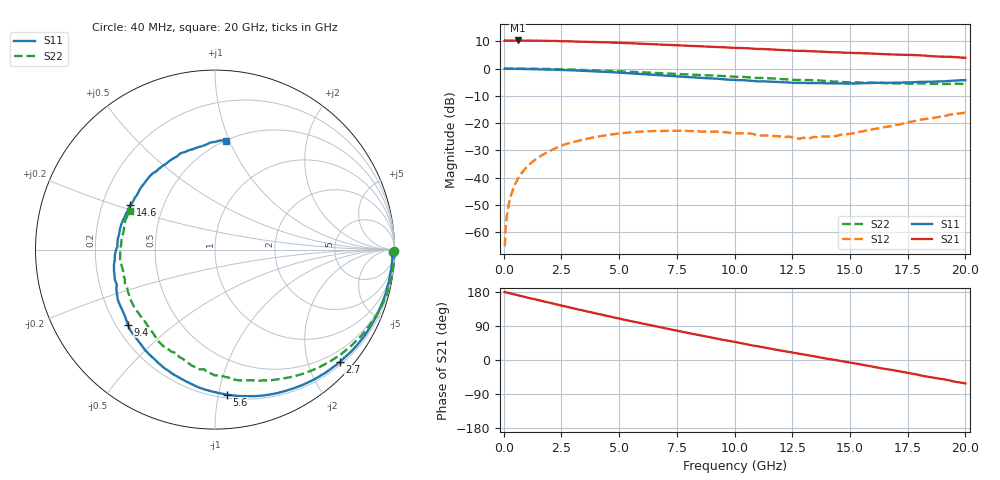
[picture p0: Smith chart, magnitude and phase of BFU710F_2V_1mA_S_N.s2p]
! Filename:  P:\Prog\Test\Noise\ATS_data\Testdata_Net\BFU710\BFU710_2W_A1_2V1mA_D.s2p
! Date/Time: Fri 29/Apr/2011 13:26:47
! BFU710_2W_A1_2V1mA
! bias mode 1: Vout= 2.0002 V, Iout= 0.9600 mA, Vin= 0.7820 V, Iin= 0.0029 mA
! Date/time Wed Mar 16 13:25:12 2011
! Device data file deembeded for feedlines and parallel
! Original file: \BFU710\BFU710_2W_A1_2V1mA_R.s2p
! Feed-files: PR003V01_101208_Feed1.s2p, PR003V01_101208_Feed2.s2p
! Parallel-file: PR003V01_101208_Par.s2p
# MHz S MA R 50
!  Freq-MHz  S11-mag  S11-arg  S21-mag  S21-arg  S12-mag  S12-arg  S22-mag  S22-arg
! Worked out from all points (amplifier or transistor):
!   167 points, 40 MHz to 20 GHz, reference 50 ohm
!   highest |S21| = 10.3 dB at 600 MHz (marker M1)
!   |S21| within 3 dB of that: start of sweep to 10.8 GHz
!   unconditionally stable (mu >= 1): 9.933 GHz to 19.09 GHz
!   at 550 MHz: K = -0.02, MSG = 25.9 dB, |S12| = -41.5 dB
!   at 4.2 GHz: K = 0.25, MSG = 17.2 dB, |S12| = -24.8 dB
!   at 20 GHz: K = 0.88, MSG = 10.1 dB, |S12| = -16.2 dB
!   lowest NFmin = 0.57 dB at 400 MHz
!   S11 on the Smith chart (normalised r, x): 40 MHz: open; 2.7 GHz: 0.26, -2.58; 5.6 GHz: 0.23, -1.06; 9.4 GHz: 0.25, -0.35; 14.6 GHz: 0.32, +0.22; 20 GHz: 0.50, +0.97
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40  0.9895 -0.7  3.24 179.6  0.000552 87.1  0.9997 -0.4
60  0.9891 -0.8  3.213 178.8  0.0006706 97.6  0.9998 -0.5
80  0.9894 -1.2  3.249 178.8  0.00112 90.1  1 -0.7
120  0.9891 -1.9  3.236 178.3  0.001701 89.9  1 -1.1
220  0.9891 -3.5  3.244 176.8  0.003241 90.6  0.9999 -2.0
380  0.9878 -6.0  3.237 174.3  0.005736 88.7  0.9996 -3.5
600  0.9856 -9.4  3.269 171.1  0.009222 85.9  0.9984 -5.5
1400  0.9726 -21.9  3.243 159.3  0.02183 75.6  0.9899 -13.0
2700  0.9351 -42.1  3.163 140.7  0.04132 59.7  0.9625 -25.0
3400  0.9099 -52.7  3.102 131.0  0.04918 51.4  0.9434 -31.2
4400  0.8679 -67.7  3.035 117.4  0.05955 40.7  0.9122 -39.9
5600  0.81 -85.4  2.9 101.3  0.06807 28.1  0.8674 -50.2
6800  0.7511 -102.6  2.755 86.0  0.07179 16.7  0.8224 -60.0
8200  0.6892 -122.2  2.603 68.9  0.07114 6.6  0.771 -71.5
9400  0.6403 -139.2  2.471 54.2  0.06917 -0.6  0.7313 -81.8
10200  0.6132 -149.6  2.385 45.6  0.06472 -3.1  0.702 -88.2
11600  0.5743 -168.5  2.239 29.5  0.05866 -4.2  0.6594 -101.3
13400  0.542 168.1  2.067 10.3  0.05547 5.3  0.6109 -117.7
14600  0.5343 152.5  1.971 -2.7  0.06084 13.0  0.5701 -130.4
16800  0.548 124.7  1.809 -26.1  0.08795 16.8  0.5338 -156.4
18200  0.5692 106.8  1.729 -42.3  0.1174 9.9  0.5296 -176.6
20000  0.6104 84.2  1.575 -61.8  0.1553 -2.0  0.5204 155.7
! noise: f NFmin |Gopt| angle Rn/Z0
400  0.5713  0.782  3.97  0.5795
850  0.5962  0.7703  9.14  0.5756
1500  0.6347  0.7525  16.32  0.5651
2150  0.6765  0.7329  23.27  0.5495
3100  0.7431  0.7006  33.27  0.5188
4300  0.8368  0.6553  46.1  0.4694
6200  1.007  0.5835  67.92  0.3758
8800  1.284  0.5114  101  0.2426
1.14e+04  1.611  0.4576  135.6  0.1395
1.4e+04  1.988  0.3753  178.9  0.1065
